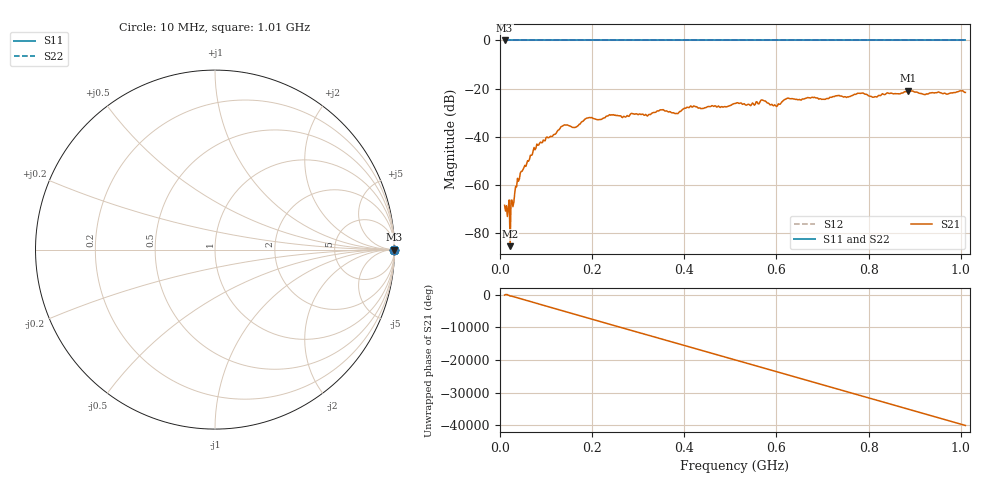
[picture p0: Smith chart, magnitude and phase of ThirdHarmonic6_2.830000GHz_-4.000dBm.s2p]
! 8/17/2025 7:32:21 AM
! C:\ANRITSUVNA\TEMP\TEMP.S2P
! CHANNEL.1
! TR.MEASUREMENT
! RAW.DATA
! RF.CORRECTION.OFF
! AVERAGING.OFF
! IF.BANDWIDTH: 5KHZ
! SWEEPTYPE:  FREQ.SWEEP(Linear)
! Reference Plane Port Info
! PORT:  PORT1  PORT2
! DISTANCE:  0  m  0  m
! TIME:  0  s  0  s
! PHASE.OFFSET:  0  deg.  0  deg.
! LOSS:  0  dB  0  dB
! REF.LOSS:  0  dB  0  dB
! REF.FREQ:  0  Hz  0  Hz
! Power Info
! POWER:  -20  dBm  -20  dBm
! EFF.POWER:  -20  dBm  -20  dBm
! SOURCE.ATTEN:  0  dB  0  dB
! TEST.ATTEN:  0  dB  0  dB
# GHZ S RI R 50.0
! FREQ.GHZ  S11RE  S11IM  S21RE  S21IM  S12RE  S12IM  S22RE  S22IM
!; PortSelection: Port_12
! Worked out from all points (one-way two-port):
!   501 points, 10 MHz to 1.01 GHz, reference 50 ohm
!   highest |S21| = -20.82 dB at 886 MHz (marker M1); lowest = -85.4 dB at 22 MHz (marker M2)
!   lowest |S11| = 0.0 dB at 10 MHz (marker M3)
!   |S11| at or under -10 dB: nowhere
!   |S22| runs from 0.0 to 0.0 dB; largest |S21 - S12| = 1.1
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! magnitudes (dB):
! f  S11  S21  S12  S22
! 10 MHz  0.0  -68.4  0.0  0.0
! 18 MHz  0.0  -69.3  0.0  0.0
! 22 MHz  0.0  -85.4  0.0  0.0
! 26 MHz  0.0  -66.2  0.0  0.0
! 28 MHz  0.0  -69.0  0.0  0.0
! 42 MHz  0.0  -57.5  0.0  0.0
! 78 MHz  0.0  -44.7  0.0  0.0
! 136 MHz  0.0  -35.5  0.0  0.0
! 162 MHz  0.0  -36.1  0.0  0.0
! 178 MHz  0.0  -33.7  0.0  0.0
! 192 MHz  0.0  -32.1  0.0  0.0
! 344 MHz  0.0  -29.3  0.0  0.0
! 382 MHz  0.0  -30.3  0.0  0.0
! 410 MHz  0.0  -27.9  0.0  0.0
! 510 MHz  0.0  -26.2  0.0  0.0
! 570 MHz  0.0  -24.8  0.0  0.0
! 598 MHz  0.0  -27.0  0.0  0.0
! 622 MHz  0.0  -24.1  0.0  0.0
! 678 MHz  0.0  -23.6  0.0  0.0
! 844 MHz  0.0  -22.0  0.0  0.0
! 886 MHz  0.0  -20.8  0.0  0.0
! 1.01 GHz  0.0  -21.6  0.0  0.0
